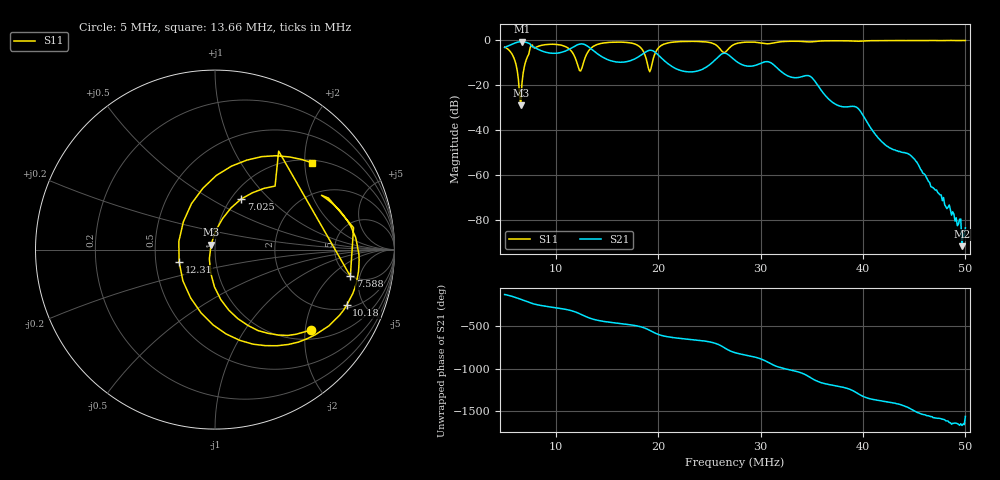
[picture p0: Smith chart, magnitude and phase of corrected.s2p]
! S11/S21 only; reverse parameters are placeholders. Device calibration unverified.
! [Saver CAL applied] C:\Users\aknya\MyProjects\rf-simulator\calibration2.cal | Ideal standards assumed | Input: NanoVNA F V2 profile | COM3 | 2026-09-08T11:51:29.4406317-04:00 | device calibration unverified
# HZ S RI R 50
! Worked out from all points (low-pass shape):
!   401 points, 5 MHz to 50 MHz, reference 50 ohm
!   highest |S21| = -0.65 dB at 6.688 MHz (marker M1); lowest = -91.7 dB at 49.66 MHz (marker M2)
!   |S21| within 3 dB of the highest: start of sweep to 8.085 MHz; 11.48 MHz to 13.38 MHz (1.904 MHz wide, 15.3 % of centre)
!   lowest |S11| = -29.0 dB at 6.575 MHz (marker M3), VSWR 1.07, Z = 47.8 + j2.69 ohm
!   |S11| at or under -10 dB: 6.06 MHz to 7.023 MHz (962.7 kHz wide, 14.7 % of centre); 12.06 MHz to 12.71 MHz (647.6 kHz wide, 5.23 % of centre); 18.92 MHz to 19.42 MHz (505.5 kHz wide, 2.64 % of centre)
!   S12 and S22 are empty: the file has one direction only
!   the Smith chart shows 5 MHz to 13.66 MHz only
!   S11 on the Smith chart (normalised r, x): 5 MHz: 1.23, -2.16; 7.025 MHz: 1.11, +0.70; 7.588 MHz: 4.97, -3.60; 10.18 MHz: 2.20, -3.71; 12.31 MHz: 0.66, -0.09; 13.66 MHz: 1.06, +2.18
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5000000  0.537 -0.4477  -0.4156 -0.5482  0 0  0 0
6575000  -0.0217 0.0281  -0.924 0.0584  0 0  0 0
6687500  0.00337 0.1047  -0.9167 0.1407  0 0  0 0
7025000  0.146 0.2821  -0.8239 0.3684  0 0  0 0
7587500  0.7542 -0.1481  -0.5029 0.5468  0 0  0 0
1.0175e7  0.7338 -0.3094  0.1405 0.496  0 0  0 0
1.1525e7  0.2119 -0.5269  0.4891 0.4516  0 0  0 0
1.23125e7  -0.1999 -0.0673  0.8065 0.1143  0 0  0 0
1.25375e7  -0.1762 0.1552  0.8206 -0.0669  0 0  0 0
1.36625e7  0.5419 0.4836  0.3095 -0.4954  0 0  0 0
1.6025e7  0.8957 -0.1404  -0.0797 -0.315  0 0  0 0
1.81625e7  0.3839 -0.6125  -0.348 -0.2658  0 0  0 0
1.90625e7  -0.2038 -0.1023  -0.5864 0.0194  0 0  0 0
2.0075e7  0.5036 0.4724  -0.2304 0.3892  0 0  0 0
2.24375e7  0.9276 -0.0973  0.0591 0.1956  0 0  0 0
2.615e7  0.4709 -0.3601  0.4743 -0.0937  0 0  0 0
2.75e7  0.7911 -0.2006  -0.00767 -0.355  0 0  0 0
3.1325e7  0.7518 -0.4421  -0.1326 0.2422  0 0  0 0
3.50375e7  0.6713 -0.6255  0.1156 -0.0866  0 0  0 0
4.2575e7  0.441 -0.8732  0.0028 0.0029  0 0  0 0
4.96625e7  0.167 -0.9668  -1.75e-05 1.94e-05  0 0  0 0
5e7  0.1582 -0.9681  -3.51e-05 -5.73e-05  0 0  0 0
